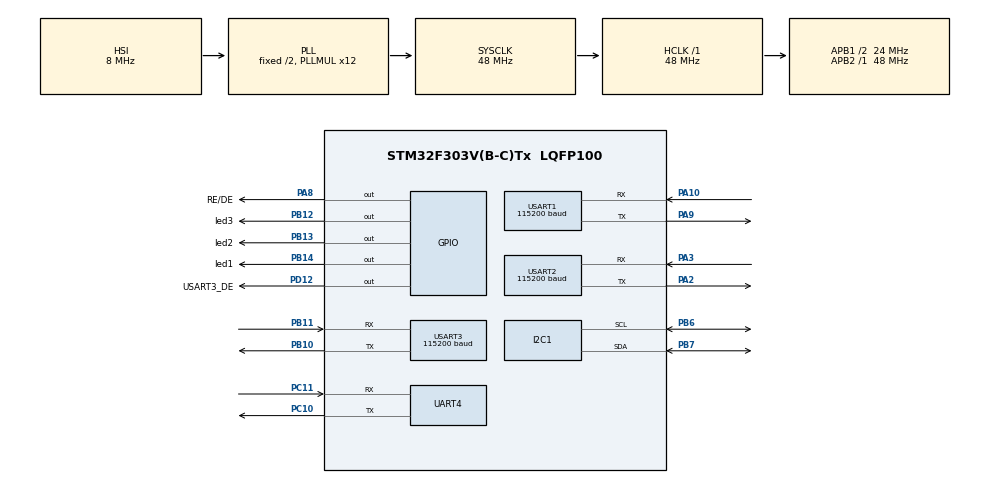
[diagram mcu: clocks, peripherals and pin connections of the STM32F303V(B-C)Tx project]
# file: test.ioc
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Dma.Request0=USART1_TX
Dma.Request1=USART1_RX
Dma.Request2=USART2_RX
Dma.Request3=USART2_TX
Dma.USART1_RX.1.Direction=DMA_PERIPH_TO_MEMORY
Dma.USART1_RX.1.Instance=DMA1_Channel5
Dma.USART1_RX.1.MemDataAlignment=DMA_MDATAALIGN_BYTE
Dma.USART1_RX.1.MemInc=DMA_MINC_ENABLE
Dma.USART1_RX.1.Mode=DMA_NORMAL
Dma.USART1_RX.1.PeriphDataAlignment=DMA_PDATAALIGN_BYTE
Dma.USART1_RX.1.PeriphInc=DMA_PINC_DISABLE
Dma.USART1_RX.1.Priority=DMA_PRIORITY_VERY_HIGH
Dma.USART1_TX.0.Direction=DMA_MEMORY_TO_PERIPH
Dma.USART1_TX.0.Instance=DMA1_Channel4
Dma.USART1_TX.0.MemDataAlignment=DMA_MDATAALIGN_BYTE
Dma.USART1_TX.0.MemInc=DMA_MINC_ENABLE
Dma.USART1_TX.0.Mode=DMA_NORMAL
Dma.USART1_TX.0.PeriphDataAlignment=DMA_PDATAALIGN_BYTE
Dma.USART1_TX.0.PeriphInc=DMA_PINC_DISABLE
Dma.USART1_TX.0.Priority=DMA_PRIORITY_VERY_HIGH
Dma.USART2_RX.2.Direction=DMA_PERIPH_TO_MEMORY
Dma.USART2_RX.2.Instance=DMA1_Channel6
Dma.USART2_RX.2.MemDataAlignment=DMA_MDATAALIGN_BYTE
Dma.USART2_RX.2.MemInc=DMA_MINC_ENABLE
Dma.USART2_RX.2.Mode=DMA_NORMAL
Dma.USART2_RX.2.PeriphDataAlignment=DMA_PDATAALIGN_BYTE
Dma.USART2_RX.2.PeriphInc=DMA_PINC_DISABLE
Dma.USART2_RX.2.Priority=DMA_PRIORITY_VERY_HIGH
Dma.USART2_TX.3.Direction=DMA_MEMORY_TO_PERIPH
Dma.USART2_TX.3.Instance=DMA1_Channel7
Dma.USART2_TX.3.MemDataAlignment=DMA_MDATAALIGN_BYTE
Dma.USART2_TX.3.MemInc=DMA_MINC_ENABLE
Dma.USART2_TX.3.Mode=DMA_NORMAL
Dma.USART2_TX.3.PeriphDataAlignment=DMA_PDATAALIGN_BYTE
Dma.USART2_TX.3.PeriphInc=DMA_PINC_DISABLE
Dma.USART2_TX.3.Priority=DMA_PRIORITY_HIGH
FREERTOS.INCLUDE_vTaskDelayUntil=1
FREERTOS.Mutexes01=mutData,Static,mutDataControlBlock
FREERTOS.Tasks01=tLedBlinkingTask,-2,128,func_tLedBlinkingTask,Default,NULL,Static,tLedBlinkingTaskBuffer,tLedBlinkingTaskControlBlock;tVmaCommTask,0,128,func_tVmaCommTask,Default,NULL,Static,tVmaCommTaskBuffer,tVmaCommTaskControlBlock;tImuCommTask,0,128,func_tImuCommTask,Default,NULL,Static,tImuCommTaskBuffer,tImuCommTaskControlBlock;tStabilizationTask,-3,128,func_tStabilizationTask,Default,NULL,Static,tStabilizationTaskBuffer,tStabilizationTaskControlBlock;tDevCommTask,-3,128,func_tDevCommTask,Default,NULL,Static,tDevCommTaskBuffer,tDevCommTaskControlBlock;tSensCommTask,0,128,func_tSensCommTask,Default,NULL,Static,tSensCommTaskBuffer,tSensCommTaskControlBlock;tPcCommTask,2,128,func_tPcCommTask,Default,NULL,Static,tPcCommTaskBuffer,tPcCommTaskControlBlock
FREERTOS.Timers01=tUartTimer,func_tUartTimer,osTimerOnce,Default,NULL,Dynamic,NULL;tTechCommTimer,tTechCommTimer_callback,osTimerOnce,Default,NULL,Dynamic,NULL;tSilence,tSilence_func,osTimerOnce,Default,NULL,Dynamic,NULL
FREERTOS.configMAX_TASK_NAME_LEN=32
FREERTOS.configTOTAL_HEAP_SIZE=1024
FREERTOS.configUSE_NEWLIB_REENTRANT=1
FREERTOS.configUSE_TIMERS=1
Mcu.Family=STM32F3
Mcu.Name=STM32F303V(B-C)Tx
Mcu.Package=LQFP100
NVIC.DMA1_Channel4_IRQn=true\:5\:0\:false\:false\:true\:true\:false\:true\:true
NVIC.DMA1_Channel5_IRQn=true\:5\:0\:false\:false\:true\:true\:false\:true\:true
NVIC.DMA1_Channel6_IRQn=true\:5\:0\:false\:false\:true\:true\:false\:true\:true
NVIC.DMA1_Channel7_IRQn=true\:5\:0\:false\:false\:true\:true\:false\:true\:true
NVIC.I2C1_EV_IRQn=true\:5\:0\:false\:false\:true\:true\:true\:true\:true
NVIC.PriorityGroup=NVIC_PRIORITYGROUP_4
NVIC.TIM1_UP_TIM16_IRQn=true\:15\:0\:false\:false\:true\:false\:false\:true\:true
NVIC.TimeBase=TIM1_UP_TIM16_IRQn
NVIC.TimeBaseIP=TIM1
NVIC.UART4_IRQn=true\:5\:0\:false\:false\:true\:true\:true\:true\:true
NVIC.USART1_IRQn=true\:5\:0\:false\:false\:true\:true\:true\:true\:true
NVIC.USART2_IRQn=true\:5\:0\:true\:false\:true\:true\:true\:true\:true
NVIC.USART3_IRQn=true\:5\:0\:true\:false\:true\:true\:true\:true\:true
PA10.Mode=Asynchronous
PA10.Signal=USART1_RX
PA13.Mode=Serial_Wire
PA13.Signal=SYS_JTMS-SWDIO
PA14.Mode=Serial_Wire
PA14.Signal=SYS_JTCK-SWCLK
PA2.Mode=Asynchronous
PA2.Signal=USART2_TX
PA3.Mode=Asynchronous
PA3.Signal=USART2_RX
PA8.GPIO_Label=RE/DE
PA8.Signal=GPIO_Output
PA9.Mode=Asynchronous
PA9.Signal=USART1_TX
PB10.Mode=Asynchronous
PB10.Signal=USART3_TX
PB11.Mode=Asynchronous
PB11.Signal=USART3_RX
PB12.GPIO_Label=led3
PB12.Signal=GPIO_Output
PB13.GPIO_Label=led2
PB13.Signal=GPIO_Output
PB14.GPIO_Label=led1
PB14.Signal=GPIO_Output
PB6.Mode=I2C
PB6.Signal=I2C1_SCL
PB7.Mode=I2C
PB7.Signal=I2C1_SDA
PC10.Mode=Asynchronous
PC10.Signal=UART4_TX
PC11.Mode=Asynchronous
PC11.Signal=UART4_RX
PD12.GPIO_Label=USART3_DE
PD12.Signal=GPIO_Output
PF0-OSC_IN.Mode=HSE-External-Oscillator
PF0-OSC_IN.Signal=RCC_OSC_IN
PF1-OSC_OUT.Mode=HSE-External-Oscillator
PF1-OSC_OUT.Signal=RCC_OSC_OUT
ProjectManager.HeapSize=0x200
ProjectManager.StackSize=0x400
ProjectManager.TargetToolchain=STM32CubeIDE
RCC.AHBFreq_Value=48000000
RCC.APB1CLKDivider=RCC_HCLK_DIV2
RCC.APB1Freq_Value=24000000
RCC.APB1TimFreq_Value=48000000
RCC.APB2Freq_Value=48000000
RCC.APB2TimFreq_Value=48000000
RCC.CortexFreq_Value=48000000
RCC.HCLKFreq_Value=48000000
RCC.HSE_VALUE=24000000
RCC.HSI_VALUE=8000000
RCC.LSE_VALUE=32768
RCC.PLLMUL=RCC_PLL_MUL12
RCC.SYSCLKFreq_VALUE=48000000
RCC.SYSCLKSourceVirtual=RCC_SYSCLKSOURCE_PLLCLK
RCC.USBFreq_Value=48000000
USART1.BaudRate=115200
USART1.VirtualMode-Asynchronous=VM_ASYNC
USART2.BaudRate=115200
USART2.DMADisableonRxErrorParam=ADVFEATURE_DMA_DISABLEONRXERROR
USART2.VirtualMode-Asynchronous=VM_ASYNC
USART3.BaudRate=115200
USART3.VirtualMode-Asynchronous=VM_ASYNC
VP_FREERTOS_VS_CMSIS_V1.Mode=CMSIS_V1
VP_SYS_VS_tim1.Mode=TIM1
VP_TIM7_VS_ClockSourceINT.Mode=Enable_Timer
board=custom

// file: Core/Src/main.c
/* USER CODE BEGIN Header */
/**
  ******************************************************************************
  * @file           : main.c
  * @brief          : Main program body
  ******************************************************************************
  * @attention
  *
  * Copyright (c) 2022 STMicroelectronics.
  * All rights reserved.
  *
  * This software is licensed under terms that can be found in the LICENSE file
  * in the root directory of this software component.
  * If no LICENSE file comes with this software, it is provided AS-IS.
  *
  ******************************************************************************
  */
/* USER CODE END Header */
#include "main.h"
#include "cmsis_os.h"
#include "dma.h"
#include "i2c.h"
#include "tim.h"
#include "usart.h"
#include "gpio.h"

/* USER CODE BEGIN Includes */
#include "moving_average.h"
/* USER CODE END Includes */

/* USER CODE BEGIN PM */
#define PRESURE_TX_BUF_SIZE 6
extern UART_HandleTypeDef huart1;
static uint8_t message_buff[10];
extern I2C_HandleTypeDef hi2c1;

#define I2C_TX_TIMEOUT 1000
uint32_t hal_last_presure_tick = 0;

uint8_t i2c_master_rx_buff[PRESURE_TX_BUF_SIZE];

enum {
	TRANSMISION,
	NONE,
} i2c_master_tx_state = NONE;
/* USER CODE END PM */

void SystemClock_Config(void);
void MX_FREERTOS_Init(void);

/* USER CODE BEGIN 0 */
int32_t press;
float temperature;
float depth_val;
float altitude_val;

Moving_Average_filter pressure_filter;
Moving_Average_filter velocity_pressure_filter;

/* USER CODE END 0 */

int main(void)
{

  /* MCU Configuration--------------------------------------------------------*/

  /* Reset of all peripherals, Initializes the Flash interface and the Systick. */
  HAL_Init();

  /* Configure the system clock */
  SystemClock_Config();

  /* Initialize all configured peripherals */
  MX_GPIO_Init();
  MX_DMA_Init();
  MX_USART1_UART_Init();
  MX_I2C1_Init();
  MX_USART2_UART_Init();
  MX_USART3_UART_Init();
  MX_UART4_Init();
  MX_TIM7_Init();
  /* USER CODE BEGIN 2 */

  HAL_Delay(30000); //30 seconds delay to start PC
  MS5837_02BA_init(&hi2c1);
  MS5837_02BA_reset_pressure();

  movingAverageInit(&pressure_filter, 50);
  movingAverageInit(&velocity_pressure_filter, 50);

  /* USER CODE END 2 */

  /* Call init function for freertos objects (in freertos.c) */
  MX_FREERTOS_Init();

  /* Start scheduler */
  osKernelStart();

  /* We should never get here as control is now taken by the scheduler */
  /* Infinite loop */
  while (1)
  {

  }
}

void SystemClock_Config(void)
{
  RCC_OscInitTypeDef RCC_OscInitStruct = {0};
  RCC_ClkInitTypeDef RCC_ClkInitStruct = {0};
  RCC_PeriphCLKInitTypeDef PeriphClkInit = {0};

  /** Initializes the RCC Oscillators according to the specified parameters
  * in the RCC_OscInitTypeDef structure.
  */
  RCC_OscInitStruct.OscillatorType = RCC_OSCILLATORTYPE_HSI;
  RCC_OscInitStruct.HSIState = RCC_HSI_ON;
  RCC_OscInitStruct.HSICalibrationValue = RCC_HSICALIBRATION_DEFAULT;
  RCC_OscInitStruct.PLL.PLLState = RCC_PLL_ON;
  RCC_OscInitStruct.PLL.PLLSource = RCC_PLLSOURCE_HSI;
  RCC_OscInitStruct.PLL.PLLMUL = RCC_PLL_MUL12;
  if (HAL_RCC_OscConfig(&RCC_OscInitStruct) != HAL_OK)
  {
    Error_Handler();
  }

  /** Initializes the CPU, AHB and APB buses clocks
  */
  RCC_ClkInitStruct.ClockType = RCC_CLOCKTYPE_HCLK|RCC_CLOCKTYPE_SYSCLK
                              |RCC_CLOCKTYPE_PCLK1|RCC_CLOCKTYPE_PCLK2;
  RCC_ClkInitStruct.SYSCLKSource = RCC_SYSCLKSOURCE_PLLCLK;
  RCC_ClkInitStruct.AHBCLKDivider = RCC_SYSCLK_DIV1;
  RCC_ClkInitStruct.APB1CLKDivider = RCC_HCLK_DIV2;
  RCC_ClkInitStruct.APB2CLKDivider = RCC_HCLK_DIV1;

  if (HAL_RCC_ClockConfig(&RCC_ClkInitStruct, FLASH_LATENCY_1) != HAL_OK)
  {
    Error_Handler();
  }
  PeriphClkInit.PeriphClockSelection = RCC_PERIPHCLK_USART1|RCC_PERIPHCLK_USART2
                              |RCC_PERIPHCLK_USART3|RCC_PERIPHCLK_UART4
                              |RCC_PERIPHCLK_I2C1;
  PeriphClkInit.Usart1ClockSelection = RCC_USART1CLKSOURCE_PCLK2;
  PeriphClkInit.Usart2ClockSelection = RCC_USART2CLKSOURCE_PCLK1;
  PeriphClkInit.Usart3ClockSelection = RCC_USART3CLKSOURCE_PCLK1;
  PeriphClkInit.Uart4ClockSelection = RCC_UART4CLKSOURCE_PCLK1;
  PeriphClkInit.I2c1ClockSelection = RCC_I2C1CLKSOURCE_HSI;
  if (HAL_RCCEx_PeriphCLKConfig(&PeriphClkInit) != HAL_OK)
  {
    Error_Handler();
  }
}

void HAL_TIM_PeriodElapsedCallback(TIM_HandleTypeDef *htim)
{
  if (htim->Instance == TIM1) {
    HAL_IncTick();
  }
}

void Error_Handler(void)
{
  __disable_irq();
  while (1)
  {
  }
}

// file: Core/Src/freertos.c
/* USER CODE BEGIN Header */
/**
  ******************************************************************************
  * File Name          : freertos.c
  * Description        : Code for freertos applications
  ******************************************************************************
  * @attention
  *
  * Copyright (c) 2022 STMicroelectronics.
  * All rights reserved.
  *
  * This software is licensed under terms that can be found in the LICENSE file
  * in the root directory of this software component.
  * If no LICENSE file comes with this software, it is provided AS-IS.
  *
  ******************************************************************************
  */
/* USER CODE END Header */

#include "FreeRTOS.h"
#include "task.h"
#include "main.h"
#include "cmsis_os.h"

/* USER CODE BEGIN Includes */
#include "usart.h"
//#include "i2c.h"
#include "timers.h"
#include "messages.h"
#include "robot.h"
#include "global.h"
#include "communication.h"
#include "stabilization.h"
#include "checksum.h"
#include "thrusters.h"
#include "MS5837.h"
#include "moving_average.h"
#include "math.h"
/* USER CODE END Includes */

/* USER CODE BEGIN PD */
uint32_t toggle_counter;

extern Moving_Average_filter pressure_filter;
extern Moving_Average_filter velocity_pressure_filter;
/* USER CODE END PD */

/* USER CODE BEGIN Variables */
#define SHORE_DELAY	  45

TimerHandle_t UARTTimer;
TimerHandle_t SilenceTimer;

uint8_t silence_ticks = 0;

/* USER CODE END Variables */
osThreadId tLedBlinkingTaskHandle;
uint32_t tLedBlinkingTaskBuffer[ 128 ];
osStaticThreadDef_t tLedBlinkingTaskControlBlock;
osThreadId tVmaCommTaskHandle;
uint32_t tVmaCommTaskBuffer[ 128 ];
osStaticThreadDef_t tVmaCommTaskControlBlock;
osThreadId tImuCommTaskHandle;
uint32_t tImuCommTaskBuffer[ 128 ];
osStaticThreadDef_t tImuCommTaskControlBlock;
osThreadId tStabilizationTaskHandle;
uint32_t tStabilizationTaskBuffer[ 128 ];
osStaticThreadDef_t tStabilizationTaskControlBlock;
osThreadId tDevCommTaskHandle;
uint32_t tDevCommTaskBuffer[ 128 ];
osStaticThreadDef_t tDevCommTaskControlBlock;
osThreadId tSensCommTaskHandle;
uint32_t tSensCommTaskBuffer[ 128 ];
osStaticThreadDef_t tSensCommTaskControlBlock;
osThreadId tPcCommTaskHandle;
uint32_t tPcCommTaskBuffer[ 128 ];
osStaticThreadDef_t tPcCommTaskControlBlock;
osTimerId tUartTimerHandle;
osTimerId tTechCommTimerHandle;
osTimerId tSilenceHandle;
osMutexId mutDataHandle;
osStaticMutexDef_t mutDataControlBlock;

/* USER CODE BEGIN FunctionPrototypes */
void nullIntArray(uint8_t *array, uint8_t size);
/* USER CODE END FunctionPrototypes */

void func_tLedBlinkingTask(void const * argument);
void func_tVmaCommTask(void const * argument);
void func_tImuCommTask(void const * argument);
void func_tStabilizationTask(void const * argument);
void func_tDevCommTask(void const * argument);
void func_tSensCommTask(void const * argument);
void func_tPcCommTask(void const * argument);
void func_tUartTimer(void const * argument);
void tTechCommTimer_callback(void const * argument);
void tSilence_func(void const * argument);

void MX_FREERTOS_Init(void); /* (MISRA C 2004 rule 8.1) */

/* GetIdleTaskMemory prototype (linked to static allocation support) */
void vApplicationGetIdleTaskMemory( StaticTask_t **ppxIdleTaskTCBBuffer, StackType_t **ppxIdleTaskStackBuffer, uint32_t *pulIdleTaskStackSize );

/* GetTimerTaskMemory prototype (linked to static allocation support) */
void vApplicationGetTimerTaskMemory( StaticTask_t **ppxTimerTaskTCBBuffer, StackType_t **ppxTimerTaskStackBuffer, uint32_t *pulTimerTaskStackSize );

/* USER CODE BEGIN GET_IDLE_TASK_MEMORY */
static StaticTask_t xIdleTaskTCBBuffer;
static StackType_t xIdleStack[configMINIMAL_STACK_SIZE];

void vApplicationGetIdleTaskMemory( StaticTask_t **ppxIdleTaskTCBBuffer, StackType_t **ppxIdleTaskStackBuffer, uint32_t *pulIdleTaskStackSize )
{
  *ppxIdleTaskTCBBuffer = &xIdleTaskTCBBuffer;
  *ppxIdleTaskStackBuffer = &xIdleStack[0];
  *pulIdleTaskStackSize = configMINIMAL_STACK_SIZE;
  /* place for user code */
}
/* USER CODE END GET_IDLE_TASK_MEMORY */

/* USER CODE BEGIN GET_TIMER_TASK_MEMORY */
static StaticTask_t xTimerTaskTCBBuffer;
static StackType_t xTimerStack[configTIMER_TASK_STACK_DEPTH];

void vApplicationGetTimerTaskMemory( StaticTask_t **ppxTimerTaskTCBBuffer, StackType_t **ppxTimerTaskStackBuffer, uint32_t *pulTimerTaskStackSize )
{
  *ppxTimerTaskTCBBuffer = &xTimerTaskTCBBuffer;
  *ppxTimerTaskStackBuffer = &xTimerStack[0];
  *pulTimerTaskStackSize = configTIMER_TASK_STACK_DEPTH;
  /* place for user code */
}
/* USER CODE END GET_TIMER_TASK_MEMORY */

void MX_FREERTOS_Init(void) {
  /* USER CODE BEGIN Init */
    uartBusesInit();
    i2cBusesInit();
    variableInit();
    stabilizationInit();

  /* USER CODE END Init */
  /* Create the mutex(es) */
  /* definition and creation of mutData */
  osMutexStaticDef(mutData, &mutDataControlBlock);
  mutDataHandle = osMutexCreate(osMutex(mutData));

  /* Create the timer(s) */
  /* definition and creation of tUartTimer */
  osTimerDef(tUartTimer, func_tUartTimer);
  tUartTimerHandle = osTimerCreate(osTimer(tUartTimer), osTimerOnce, NULL);

  /* definition and creation of tTechCommTimer */
  osTimerDef(tTechCommTimer, tTechCommTimer_callback);
  tTechCommTimerHandle = osTimerCreate(osTimer(tTechCommTimer), osTimerOnce, NULL);

  /* definition and creation of tSilence */
  osTimerDef(tSilence, tSilence_func);
  tSilenceHandle = osTimerCreate(osTimer(tSilence), osTimerOnce, NULL);

  /* USER CODE BEGIN RTOS_TIMERS */
  SilenceTimer = xTimerCreate("silence", DELAY_SILENCE/portTICK_RATE_MS, pdFALSE, 0, (TimerCallbackFunction_t) tSilence_func);
  UARTTimer = xTimerCreate("timer", DELAY_TIMER_TASK/portTICK_RATE_MS, pdFALSE, 0, (TimerCallbackFunction_t) func_tUartTimer);

  xTimerStart(SilenceTimer, 10);
  /* USER CODE END RTOS_TIMERS */

  /* Create the thread(s) */
  /* definition and creation of tLedBlinkingTask */
  osThreadStaticDef(tLedBlinkingTask, func_tLedBlinkingTask, osPriorityIdle, 0, 128, tLedBlinkingTaskBuffer, &tLedBlinkingTaskControlBlock);
  tLedBlinkingTaskHandle = osThreadCreate(osThread(tLedBlinkingTask), NULL);

  /* definition and creation of tVmaCommTask */
  osThreadStaticDef(tVmaCommTask, func_tVmaCommTask, osPriorityNormal, 0, 128, tVmaCommTaskBuffer, &tVmaCommTaskControlBlock);
  tVmaCommTaskHandle = osThreadCreate(osThread(tVmaCommTask), NULL);

  /* definition and creation of tImuCommTask */
  osThreadStaticDef(tImuCommTask, func_tImuCommTask, osPriorityNormal, 0, 128, tImuCommTaskBuffer, &tImuCommTaskControlBlock);
  tImuCommTaskHandle = osThreadCreate(osThread(tImuCommTask), NULL);

  /* definition and creation of tStabilizationTask */
  osThreadStaticDef(tStabilizationTask, func_tStabilizationTask, osPriorityLow, 0, 128, tStabilizationTaskBuffer, &tStabilizationTaskControlBlock);
  tStabilizationTaskHandle = osThreadCreate(osThread(tStabilizationTask), NULL);

  /* definition and creation of tDevCommTask */
  osThreadStaticDef(tDevCommTask, func_tDevCommTask, osPriorityIdle, 0, 128, tDevCommTaskBuffer, &tDevCommTaskControlBlock);
  tDevCommTaskHandle = osThreadCreate(osThread(tDevCommTask), NULL);

  /* definition and creation of tSensCommTask */
  osThreadStaticDef(tSensCommTask, func_tSensCommTask, osPriorityBelowNormal, 0, 128, tSensCommTaskBuffer, &tSensCommTaskControlBlock);
  tSensCommTaskHandle = osThreadCreate(osThread(tSensCommTask), NULL);

  /* definition and creation of tPcCommTask */
//  osThreadStaticDef(tPcCommTask, func_tPcCommTask, osPriorityHigh, 0, 128, tPcCommTaskBuffer, &tPcCommTaskControlBlock);
//  tPcCommTaskHandle = osThreadCreate(osThread(tPcCommTask), NULL);

  /* USER CODE BEGIN RTOS_THREADS */
  HAL_UART_Receive_IT(uartBus[SHORE_UART].huart, uartBus[SHORE_UART].rxBuffer, 1);
  /* add threads, ... */
  /* USER CODE END RTOS_THREADS */

}

void func_tLedBlinkingTask(void const * argument)
{
  /* USER CODE BEGIN func_tLedBlinkingTask */
    uint32_t sysTime = osKernelSysTick();
  /* Infinite loop */
  for(;;)
  {
	  toggle_counter++;
        HAL_GPIO_TogglePin(GPIOB, led1_Pin);
        osDelayUntil(&sysTime, DELAY_LED_TASK);
        HAL_GPIO_TogglePin(GPIOB, led2_Pin);
        osDelayUntil(&sysTime, DELAY_LED_TASK);
        HAL_GPIO_TogglePin(GPIOB, led3_Pin);
        osDelayUntil(&sysTime, DELAY_LED_TASK);
  }
  /* USER CODE END func_tLedBlinkingTask */
}

void func_tVmaCommTask(void const * argument)
{
  /* USER CODE BEGIN func_tVmaCommTask */
	uint32_t sysTime = osKernelSysTick();
	uint8_t transaction = 0;
	HAL_GPIO_WritePin(RE_DE_GPIO_Port,RE_DE_Pin,GPIO_PIN_SET);
	/* Infinite loop */
	for(;;)
	{
		if(xSemaphoreTake(mutDataHandle, (TickType_t) DELAY_THRUSTERS_TASK) == pdTRUE) {
			fillThrustersRequest(ThrustersRequestBuffer, transaction);
			xSemaphoreGive(mutDataHandle);
		}

		uartBus[THRUSTERS_UART].txBuffer = ThrustersRequestBuffer;
		uartBus[THRUSTERS_UART].txLength = THRUSTERS_REQUEST_LENGTH;

		uartBus[THRUSTERS_UART].rxBuffer = ThrustersResponseBuffer[transaction];
		uartBus[THRUSTERS_UART].rxLength = THRUSTERS_RESPONSE_LENGTH;

		transmitAndReceive(&uartBus[THRUSTERS_UART], false);

		if(xSemaphoreTake(mutDataHandle, (TickType_t) DELAY_THRUSTERS_TASK) == pdTRUE) {
			fillThrustersResponse(ThrustersResponseBuffer[transaction], transaction);
			xSemaphoreGive(mutDataHandle);
		}

		transaction = (transaction + 1) % THRUSTERS_NUMBER;
		osDelayUntil(&sysTime, DELAY_THRUSTERS_TASK);
	}
  /* USER CODE END func_tVmaCommTask */
}

void func_tImuCommTask(void const * argument)
{
  /* USER CODE BEGIN func_tImuCommTask */
  uint32_t sysTime = osKernelSysTick();
  /* Infinite loop */
  for(;;)
  {
	  	if(rSensors.startIMU) {
			uartBus[IMU_UART].txBuffer = ImuStartRequestBuffer;
			uartBus[IMU_UART].txLength = IMU_REQUEST_LENGTH_AC;
	  		transmitPackage(&uartBus[IMU_UART], false);

			uartBus[IMU_UART].txBuffer = ImuRequestBuffer;
			uartBus[IMU_UART].txLength = IMU_REQUEST_LENGTH;
	  		transmitPackage(&uartBus[IMU_UART], false);

			if(rSensors.pressure > 2000 || rSensors.pressure < -2000)
			{
				rSensors.pressure_null = 0;
			}
			else
			{
				rSensors.pressure_null = rSensors.pressure;
			}

	  		rSensors.startIMU = false;
	  	}
	  	else {

	  		uartBus[IMU_UART].rxBuffer = ImuResponseBuffer;
	  		uartBus[IMU_UART].rxLength = IMU_RESPONSE_LENGTH;

	  		HAL_UART_Receive_IT(uartBus[IMU_UART].huart, uartBus[IMU_UART].rxBuffer, uartBus[IMU_UART].rxLength);

	  		osDelayUntil(&sysTime, DELAY_IMU_TASK);

	  		if(xSemaphoreTake(mutDataHandle, (TickType_t) DELAY_IMU_TASK) == pdTRUE) {
	  			ImuReceive(ImuResponseBuffer);
	  			xSemaphoreGive(mutDataHandle);
	  		}

	  	}

	  	osDelayUntil(&sysTime, DELAY_IMU_TASK);
  }
  /* USER CODE END func_tImuCommTask */
}

void func_tStabilizationTask(void const * argument)
{
  /* USER CODE BEGIN func_tStabilizationTask */
	uint32_t sysTime = osKernelSysTick();
	/* Infinite loop */
	for(;;)
	{
		if(xSemaphoreTake(mutDataHandle, (TickType_t) DELAY_STABILIZATION_TASK) == pdTRUE) {
			for(uint8_t i=0; i<STABILIZATION_AMOUNT; i++) {
				if (rStabConstants[i].enable) {
					stabilizationUpdate(i);
				}
			}
			formThrustVectors();
			xSemaphoreGive(mutDataHandle);
		}

		osDelayUntil(&sysTime, DELAY_STABILIZATION_TASK);
	}
  /* USER CODE END func_tStabilizationTask */
}

void func_tDevCommTask(void const * argument)
{
  /* USER CODE BEGIN func_tDevCommTask */
    uint32_t sysTime = osKernelSysTick();
    uint8_t transaction = 0;
  /* Infinite loop */
  for(;;)
  {
        if(xSemaphoreTake(mutDataHandle, (TickType_t) DELAY_DEVICES_TASK) == pdTRUE) {
            DevicesRequestUpdate(DevicesRequestBuffer, transaction);
            xSemaphoreGive(mutDataHandle);
        }

		uartBus[DEVICES_UART].txBuffer = DevicesRequestBuffer;
		uartBus[DEVICES_UART].txLength = DEVICES_REQUEST_LENGTH;

		uartBus[DEVICES_UART].rxBuffer = DevicesResponseBuffer[transaction];
		uartBus[DEVICES_UART].rxLength = DEVICES_RESPONSE_LENGTH;

		transmitAndReceive(&uartBus[DEVICES_UART], false);

        if(xSemaphoreTake(mutDataHandle, (TickType_t) DELAY_DEVICES_TASK) == pdTRUE) {
            DevicesResponseUpdate(DevicesResponseBuffer[transaction], transaction);
            xSemaphoreGive(mutDataHandle);
        }

        transaction = (transaction + 1) % DEVICES_NUMBER;
        osDelayUntil(&sysTime, DELAY_DEVICES_TASK);
  }
  /* USER CODE END func_tDevCommTask */
}

void func_tSensCommTask(void const * argument)
{
  /* USER CODE BEGIN func_tSensCommTask */
  uint32_t sysTime = osKernelSysTick();
  /* Infinite loop */
  for(;;)
  {
    if(xSemaphoreTake(mutDataHandle, (TickType_t) DELAY_SENSOR_TASK) == pdTRUE) {
//      MS5837_read(i2cBus[DEV_I2C].hi2c);
    	rSensors.pressure_raw = MS5837_02BA_get_actual_pressure();
    	float pressure = movingAverageIterate(&pressure_filter, rSensors.pressure_raw);
    	rSensors.last_pressure = rSensors.pressure;
		rSensors.pressure = pressure;
		if(rSensors.last_pressure == rSensors.pressure || rSensors.pressure > 2000 || rSensors.pressure < -2000)
			rSensors.pressure_watchdog_counter++;
		else
			rSensors.pressure_watchdog_counter = 0;
		rSensors.velocity_pressure = movingAverageIterate(&velocity_pressure_filter,
				(rSensors.pressure - rSensors.last_pressure)*1000/DELAY_SENSOR_TASK);
		xSemaphoreGive(mutDataHandle);
    }
    if(rSensors.pressure_watchdog_counter >= 150)
    {
    	MS5837_02BA_reinit();
    	rSensors.pressure_watchdog_counter = 0;
    }
    osDelayUntil(&sysTime, DELAY_SENSOR_TASK); // �?справленная задержка
//    osDelayUntil(&sysTime, pressure_delay);
  }
  /* USER CODE END func_tSensCommTask */
}

void func_tPcCommTask(void const * argument)
{
  /* USER CODE BEGIN func_tPcCommTask */
	uint32_t sysTime = osKernelSysTick();
  /* Infinite loop */
  for(;;)
  {
	  osDelayUntil(&sysTime, DELAY_PC_TASK);
  }
  /* USER CODE END func_tPcCommTask */
}

/* func_tUartTimer function */
void func_tUartTimer(void const * argument)
{
  /* USER CODE BEGIN func_tUartTimer */
	if (uartBus[SHORE_UART].packageReceived) {
		bool package = true;
		if(xSemaphoreTake(mutDataHandle, (TickType_t) WAITING_TIMER) == pdTRUE) {
			switch(uartBus[SHORE_UART].rxBuffer[0]) {
				case SHORE_REQUEST_CODE:
					ShoreRequest(uartBus[SHORE_UART].rxBuffer);
					ShoreResponse(uartBus[SHORE_UART].txBuffer);
					uartBus[SHORE_UART].txLength = SHORE_RESPONSE_LENGTH;
					break;
				case REQUEST_CONFIG_CODE:
					ShoreConfigRequest(uartBus[SHORE_UART].rxBuffer);
					ShoreConfigResponse(uartBus[SHORE_UART].txBuffer);
					uartBus[SHORE_UART].txLength = SHORE_CONFIG_RESPONSE_LENGTH;
					break;
				case DIRECT_REQUEST_CODE:
					ShoreDirectRequest(uartBus[SHORE_UART].rxBuffer);
					ShoreDirectResponse(uartBus[SHORE_UART].txBuffer);
					uartBus[SHORE_UART].txLength = SHORE_DIRECT_RESPONSE_LENGTH;
					break;
				default:
					package = false;
			}
			xSemaphoreGive(mutDataHandle);
		}
		if(package) {
			HAL_UART_Transmit_IT(uartBus[SHORE_UART].huart, uartBus[SHORE_UART].txBuffer, uartBus[SHORE_UART].txLength);
		}
	}
	else {
		++uartBus[SHORE_UART].outdatedRxCounter;
	}
	counterRx = 0;
	uartBus[SHORE_UART].packageReceived = false;
	HAL_UART_AbortReceive_IT(uartBus[SHORE_UART].huart);
	HAL_UART_Receive_IT(uartBus[SHORE_UART].huart, uartBus[SHORE_UART].rxBuffer, 1);
  /* USER CODE END func_tUartTimer */
}

/* tTechCommTimer_callback function */
void tTechCommTimer_callback(void const * argument)
{
}

/* tSilence_func function */
void tSilence_func(void const * argument)
{
  /* USER CODE BEGIN tSilence_func */
	if(fromTickToMs(xTaskGetTickCount()) - uartBus[SHORE_UART].lastMessage > UART_SWITCH_DELAY && counterRx == 0) {
//		if(uartBus[SHORE_UART].huart == &huart1) {
//			uartBus[SHORE_UART].huart = &huart5;
//		}
//		else if(uartBus[SHORE_UART].huart == &huart5) {
//			uartBus[SHORE_UART].huart = &huart1;
//		}
		HAL_UART_AbortReceive_IT(uartBus[SHORE_UART].huart);
		HAL_UART_Receive_IT(uartBus[SHORE_UART].huart, uartBus[SHORE_UART].rxBuffer, 1);

		if(xSemaphoreTake(mutDataHandle, (TickType_t) WAITING_TIMER) == pdTRUE) {
			resetThrusters();
			for(uint8_t i=0; i<STABILIZATION_AMOUNT; i++) {
				rStabConstants[i].enable = false;
			}

			xSemaphoreGive(mutDataHandle);
		}

//		if(uartBus[SHORE_UART].lastMessage == 0) {
//			rState.pcCounter++;
//			switch(rState.pcCounter) {
//			case PC_POWERON_DELAY:
//				HAL_GPIO_WritePin(PC_CONTROL1_GPIO_Port, PC_CONTROL1_Pin, GPIO_PIN_SET); // RESET
//				HAL_GPIO_WritePin(PC_CONTROL2_GPIO_Port, PC_CONTROL2_Pin, GPIO_PIN_SET); // ONOFF
//				break;
//			case PC_POWERON_DELAY+1:
//			HAL_GPIO_WritePin(PC_CONTROL1_GPIO_Port, PC_CONTROL1_Pin, GPIO_PIN_RESET); // RESET
//			HAL_GPIO_WritePin(PC_CONTROL2_GPIO_Port, PC_CONTROL2_Pin, GPIO_PIN_RESET); // ONOFF
//			break;
//			case PC_POWERON_DELAY+2:
//			HAL_GPIO_WritePin(PC_CONTROL1_GPIO_Port, PC_CONTROL1_Pin, GPIO_PIN_SET); // RESET
//			HAL_GPIO_WritePin(PC_CONTROL2_GPIO_Port, PC_CONTROL2_Pin, GPIO_PIN_SET); // ONOFF
//			break;
//			}
		}
//	}
	//HAL_GPIO_WritePin(GPIOE, RES_PC_2_Pin, GPIO_PIN_SET); // ONOFF

	xTimerStart(SilenceTimer, 50);
  /* USER CODE END tSilence_func */
}
